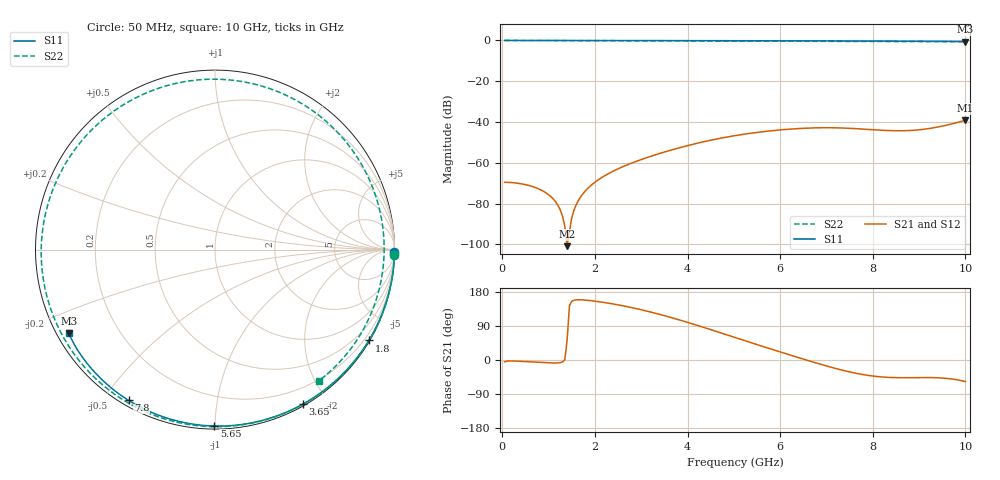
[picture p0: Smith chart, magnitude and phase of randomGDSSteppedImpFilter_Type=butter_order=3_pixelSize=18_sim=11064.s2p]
! freq	dB(S11)	phase(S11)	dB(S12)	phase(S12)
!  dB(S21)	phase(S21)	dB(S22)	phase(S22)
!S-par simulation data
#  GHz  S  DB  R 50
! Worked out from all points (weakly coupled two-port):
!   200 points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, 50 MHz to 10 GHz, reference 50 ohm
!   highest |S21| = -39.12 dB at 10 GHz (marker M1); lowest = -100.8 dB at 1.4 GHz (marker M2)
!   lowest |S11| = -0.6 dB at 10 GHz (marker M3), VSWR 31.31, Z = 1.71 - j13.3 ohm
!   |S11| at or under -10 dB: nowhere
!   |S22| runs from -0.6 to 0.0 dB; largest |S21 - S12| = 0
!   S11 on the Smith chart (normalised r, x): 50 MHz: open; 1.8 GHz: 0.03, -3.66; 3.65 GHz: 0.02, -1.72; 5.65 GHz: 0.02, -1.00; 7.8 GHz: 0.02, -0.58; 10 GHz: 0.03, -0.27
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0.05  -0.00 -0.9  -69.52 -4.7  -69.52 -4.7  -0.00 -1.8
0.7  -0.01 -12.0  -71.96 -5.5  -71.96 -5.5  -0.02 -24.7
0.95  -0.02 -16.3  -74.78 -7.2  -74.78 -7.2  -0.03 -33.4
1.2  -0.03 -20.5  -80.74 -7.6  -80.74 -7.6  -0.05 -42.1
1.4  -0.03 -23.9  -100.82 52.6  -100.82 52.6  -0.06 -49.0
1.6  -0.03 -27.2  -80.33 158.7  -80.33 158.7  -0.07 -55.8
1.75  -0.04 -29.7  -74.90 158.4  -74.90 158.4  -0.08 -60.9
1.8  -0.04 -30.6  -73.58 158.0  -73.58 158.0  -0.08 -62.6
2.05  -0.04 -34.7  -68.65 154.5  -68.65 154.5  -0.09 -71.1
2.4  -0.05 -40.5  -63.99 147.8  -63.99 147.8  -0.11 -83.0
3.4  -0.07 -56.5  -55.37 120.3  -55.37 120.3  -0.16 -116.9
3.65  -0.08 -60.4  -53.69 111.9  -53.69 111.9  -0.17 -125.5
4.4  -0.10 -71.9  -49.38 84.1  -49.38 84.1  -0.22 -152.0
5.05  -0.13 -81.5  -46.55 58.4  -46.55 58.4  -0.27 -176.7
5.65  -0.15 -90.2  -44.67 34.8  -44.67 34.8  -0.33 158.4
6.15  -0.17 -97.3  -43.57 15.6  -43.57 15.6  -0.38 135.8
6.7  -0.20 -104.9  -42.88 -5.0  -42.88 -5.0  -0.42 108.7
7.25  -0.24 -112.4  -42.84 -24.0  -42.84 -24.0  -0.46 79.8
7.8  -0.28 -119.8  -43.45 -38.7  -43.45 -38.7  -0.49 50.1
8.35  -0.33 -127.2  -44.17 -46.0  -44.17 -46.0  -0.50 21.0
9.05  -0.40 -136.6  -43.67 -46.3  -43.67 -46.3  -0.53 -13.0
10  -0.55 -150.2  -39.12 -56.9  -39.12 -56.9  -0.61 -51.7
